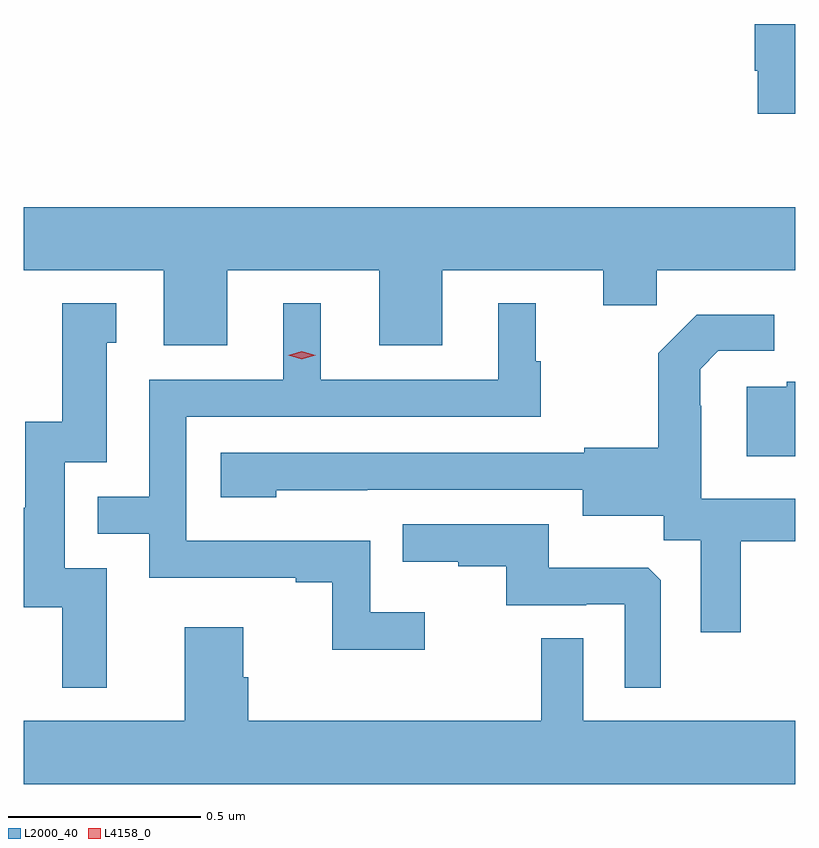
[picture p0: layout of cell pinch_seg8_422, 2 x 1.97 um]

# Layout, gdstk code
import gdstk
lib = gdstk.Library(unit=1e-6, precision=1e-09)
def P(c, l, *ps):  # polygons
    for p in ps: c.add(gdstk.Polygon(p, *l))
L2000_40 = (2000, 40)
L4158_0 = (4158, 0)

pinch_seg8_422 = lib.new_cell('pinch_seg8_422')
P(pinch_seg8_422, L2000_40, [(317.956,1162.427),(317.851,1162.427),(317.851,1162.306),(317.859,1162.306),(317.859,1162.194),(317.956,1162.194)],
  [(316.483,1161.788),(316.877,1161.788),(316.877,1161.594),(317.041,1161.594),(317.041,1161.788),(317.459,1161.788),(317.459,1161.698),(317.597,1161.698),(317.597,1161.788),(317.956,1161.788),(317.956,1161.952),(315.956,1161.952),(315.956,1161.788),(316.319,1161.788),(316.319,1161.594),(316.483,1161.594)],
  [(316.171,1161.015),(316.062,1161.015),(316.062,1161.291),(316.171,1161.291),(316.171,1161.6),(316.195,1161.6),(316.195,1161.703),(316.055,1161.703),(316.055,1161.396),(315.959,1161.396),(315.959,1161.172),(315.956,1161.172),(315.956,1160.914),(316.055,1160.914),(316.055,1160.706),(316.171,1160.706)],
  [(316.996,1160.902),(316.854,1160.902),(316.854,1161.087),(316.377,1161.087),(316.377,1161.408),(317.296,1161.408),(317.296,1161.552),(317.284,1161.552),(317.284,1161.703),(317.186,1161.703),(317.186,1161.504),(316.726,1161.504),(316.726,1161.703),(316.628,1161.703),(316.628,1161.504),(316.281,1161.504),(316.281,1161.201),(316.147,1161.201),(316.147,1161.105),(316.281,1161.105),(316.281,1160.991),(316.661,1160.991),(316.661,1160.979),(316.756,1160.979),(316.756,1160.804),(316.996,1160.804)],
  [(317.815,1161.086),(317.956,1161.086),(317.956,1161.196),(317.712,1161.196),(317.712,1161.437),(317.71,1161.437),(317.71,1161.532),(317.757,1161.579),(317.902,1161.579),(317.902,1161.673),(317.701,1161.673),(317.601,1161.573),(317.601,1161.328),(317.409,1161.328),(317.409,1161.315),(316.467,1161.315),(316.467,1161.2),(316.611,1161.2),(316.611,1161.218),(316.847,1161.218),(316.847,1161.219),(317.405,1161.219),(317.405,1161.152),(317.616,1161.152),(317.616,1161.088),(317.711,1161.088),(317.711,1160.85),(317.815,1160.85)],
  [(317.956,1161.499),(317.935,1161.499),(317.935,1161.486),(317.831,1161.486),(317.831,1161.306),(317.956,1161.306)],
  [(317.607,1160.985),(317.575,1161.017),(317.317,1161.017),(317.317,1161.129),(316.939,1161.129),(316.939,1161.032),(317.083,1161.032),(317.083,1161.021),(317.207,1161.021),(317.207,1160.919),(317.414,1160.919),(317.414,1160.922),(317.514,1160.922),(317.514,1160.705),(317.607,1160.705)],
  [(317.956,1160.62),(317.406,1160.62),(317.406,1160.834),(317.298,1160.834),(317.298,1160.62),(316.538,1160.62),(316.538,1160.733),(316.525,1160.733),(316.525,1160.863),(316.373,1160.863),(316.373,1160.62),(315.956,1160.62),(315.956,1160.456),(317.956,1160.456)])
P(pinch_seg8_422, L4158_0, [(316.677,1161.558),(316.641,1161.568),(316.641,1161.568),(316.641,1161.568),(316.677,1161.578),(316.713,1161.568),(316.713,1161.568),(316.713,1161.568)])

lib.write_gds('pinch_seg8_422.gds')
